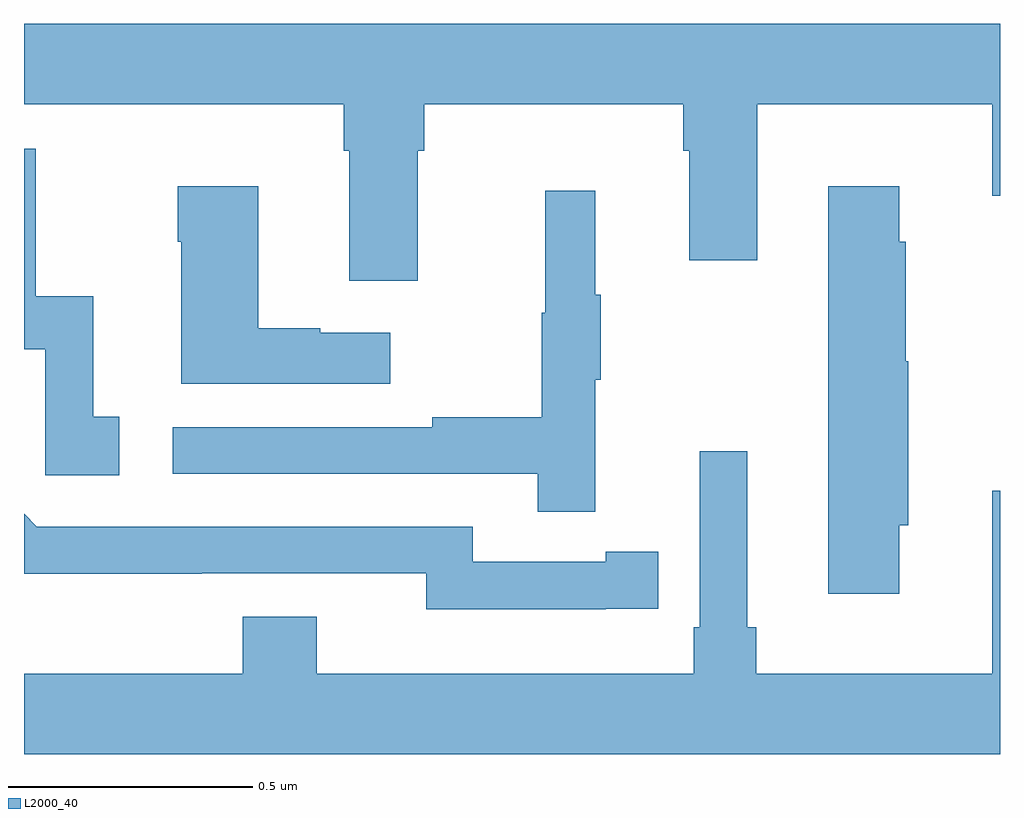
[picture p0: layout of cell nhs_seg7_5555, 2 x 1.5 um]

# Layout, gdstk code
import gdstk
lib = gdstk.Library(unit=1e-6, precision=1e-09)
def P(c, l, *ps):  # polygons
    for p in ps: c.add(gdstk.Polygon(p, *l))
L2000_40 = (2000, 40)

nhs_seg7_5555 = lib.new_cell('nhs_seg7_5555')
P(nhs_seg7_5555, L2000_40, [(187.807,1040.48),(187.82,1040.48),(187.82,1040.576),(188.351,1040.576),(188.351,1040.48),(188.363,1040.48),(188.363,1040.256),(188.503,1040.256),(188.503,1040.576),(188.984,1040.576),(188.984,1040.388),(189,1040.388),(189,1040.74),(187,1040.74),(187,1040.576),(187.655,1040.576),(187.655,1040.48),(187.667,1040.48),(187.667,1040.214),(187.807,1040.214)],
  [(187.195,1039.935),(187.142,1039.935),(187.142,1040.182),(187.024,1040.182),(187.024,1040.484),(187,1040.484),(187,1040.073),(187.044,1040.073),(187.044,1039.815),(187.195,1039.815)],
  [(188.794,1039.713),(188.812,1039.713),(188.812,1040.049),(188.807,1040.049),(188.807,1040.294),(188.794,1040.294),(188.794,1040.407),(188.648,1040.407),(188.648,1039.572),(188.794,1039.572)],
  [(187.75,1040.107),(187.607,1040.107),(187.607,1040.117),(187.48,1040.117),(187.48,1040.407),(187.315,1040.407),(187.315,1040.294),(187.322,1040.294),(187.322,1040.003),(187.75,1040.003)],
  [(188.171,1040.011),(188.182,1040.011),(188.182,1040.185),(188.171,1040.185),(188.171,1040.398),(188.068,1040.398),(188.068,1040.148),(188.061,1040.148),(188.061,1039.934),(187.837,1039.934),(187.837,1039.914),(187.305,1039.914),(187.305,1039.818),(188.053,1039.818),(188.053,1039.74),(188.171,1039.74)],
  [(189,1039.783),(188.984,1039.783),(188.984,1039.408),(188.501,1039.408),(188.501,1039.504),(188.482,1039.504),(188.482,1039.864),(188.385,1039.864),(188.385,1039.504),(188.372,1039.504),(188.372,1039.408),(187.6,1039.408),(187.6,1039.525),(187.448,1039.525),(187.448,1039.408),(187,1039.408),(187,1039.244),(189,1039.244)],
  [(188.192,1039.542),(188.3,1039.542),(188.3,1039.658),(188.192,1039.658),(188.192,1039.638),(187.92,1039.638),(187.92,1039.71),(187.026,1039.71),(187,1039.736),(187,1039.613),(187.364,1039.613),(187.364,1039.614),(187.824,1039.614),(187.824,1039.541),(188.192,1039.541)])

lib.write_gds('nhs_seg7_5555.gds')
